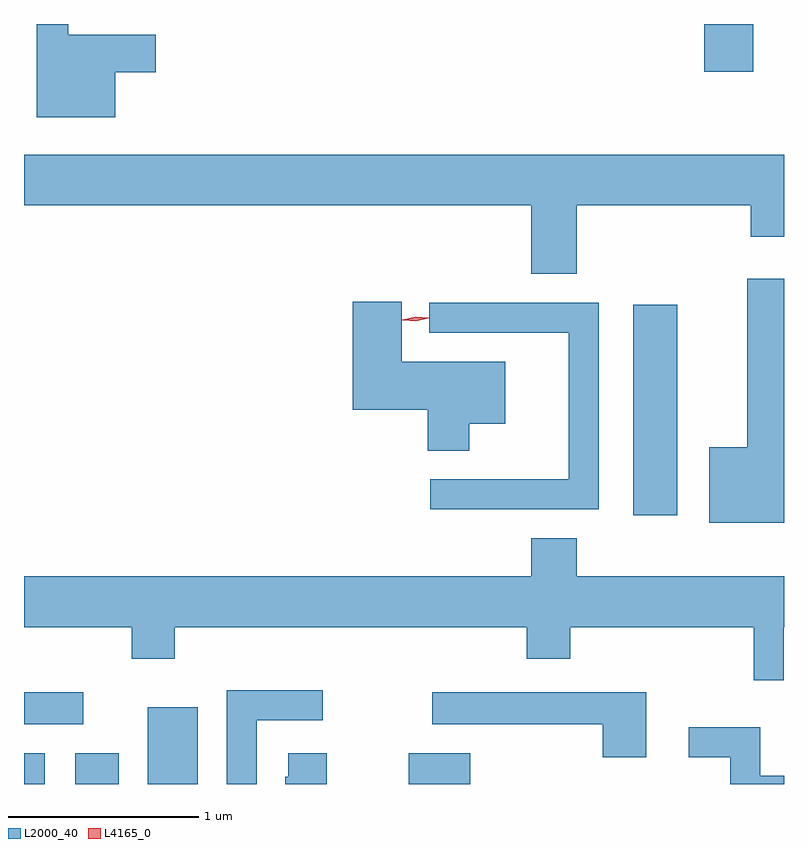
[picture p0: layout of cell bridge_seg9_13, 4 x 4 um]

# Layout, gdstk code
import gdstk
lib = gdstk.Library(unit=1e-6, precision=1e-09)
def R(c, l, rs):  # rectangles x0, y0, x1, y1
    for r in rs: c.add(gdstk.rectangle(r[:2], r[2:], *l))
def P(c, l, *ps):  # polygons
    for p in ps: c.add(gdstk.Polygon(p, *l))
L2000_40 = (2000, 40)
L4165_0 = (4165, 0)

bridge_seg9_13 = lib.new_cell('bridge_seg9_13')
R(bridge_seg9_13, L2000_40, [(1788.625,2075.351,1788.734,2075.514), (1788.896,2075.351,1789.124,2075.514), (1789.276,2075.351,1789.539,2075.754), (1790.651,2075.351,1790.974,2075.514), (1788.625,2075.666,1788.938,2075.834), (1791.831,2076.766,1792.064,2077.874), (1792.206,2079.101,1792.464,2079.351)])
P(bridge_seg9_13, L2000_40, [(1789.104,2079.096),(1789.319,2079.096),(1789.319,2079.294),(1788.859,2079.294),(1788.859,2079.351),(1788.691,2079.351),(1788.691,2078.861),(1789.104,2078.861)],
  [(1791.534,2078.396),(1792.451,2078.396),(1792.451,2078.231),(1792.625,2078.231),(1792.625,2078.664),(1788.625,2078.664),(1788.625,2078.396),(1791.296,2078.396),(1791.296,2078.036),(1791.534,2078.036)],
  [(1792.625,2078.009),(1792.431,2078.009),(1792.431,2077.124),(1792.231,2077.124),(1792.231,2076.726),(1792.625,2076.726)],
  [(1790.969,2077.246),(1791.159,2077.246),(1791.159,2077.574),(1790.614,2077.574),(1790.614,2077.889),(1790.356,2077.889),(1790.356,2077.321),(1790.751,2077.321),(1790.751,2077.106),(1790.969,2077.106)],
  [(1791.649,2077.884),(1790.758,2077.884),(1790.758,2077.726),(1791.491,2077.726),(1791.491,2076.954),(1790.763,2076.954),(1790.763,2076.796),(1791.649,2076.796)],
  [(1792.624,2076.176),(1792.625,2076.176),(1792.625,2076.444),(1791.534,2076.444),(1791.534,2076.644),(1791.296,2076.644),(1791.296,2076.444),(1788.625,2076.444),(1788.625,2076.176),(1789.191,2076.176),(1789.191,2076.011),(1789.419,2076.011),(1789.419,2076.176),(1791.271,2076.176),(1791.271,2076.011),(1791.499,2076.011),(1791.499,2076.176),(1792.466,2076.176),(1792.466,2075.898),(1792.624,2075.898)],
  [(1789.849,2075.686),(1790.198,2075.686),(1790.198,2075.844),(1789.691,2075.844),(1789.691,2075.351),(1789.849,2075.351)],
  [(1791.899,2075.834),(1790.773,2075.834),(1790.773,2075.666),(1791.671,2075.666),(1791.671,2075.491),(1791.899,2075.491)],
  [(1792.625,2075.394),(1792.499,2075.394),(1792.499,2075.649),(1792.123,2075.649),(1792.123,2075.491),(1792.341,2075.491),(1792.341,2075.351),(1792.625,2075.351)],
  [(1790.219,2075.514),(1790.016,2075.514),(1790.016,2075.39),(1790.001,2075.39),(1790.001,2075.351),(1790.219,2075.351)])
P(bridge_seg9_13, L4165_0, [(1790.687,2077.789),(1790.618,2077.793),(1790.617,2077.794),(1790.618,2077.794),(1790.686,2077.809),(1790.755,2077.805),(1790.756,2077.804),(1790.755,2077.804)],
  [(1790.687,2077.787),(1790.62,2077.791),(1790.62,2077.792),(1790.62,2077.792),(1790.685,2077.807),(1790.752,2077.803),(1790.752,2077.803),(1790.752,2077.802)])

lib.write_gds('bridge_seg9_13.gds')
